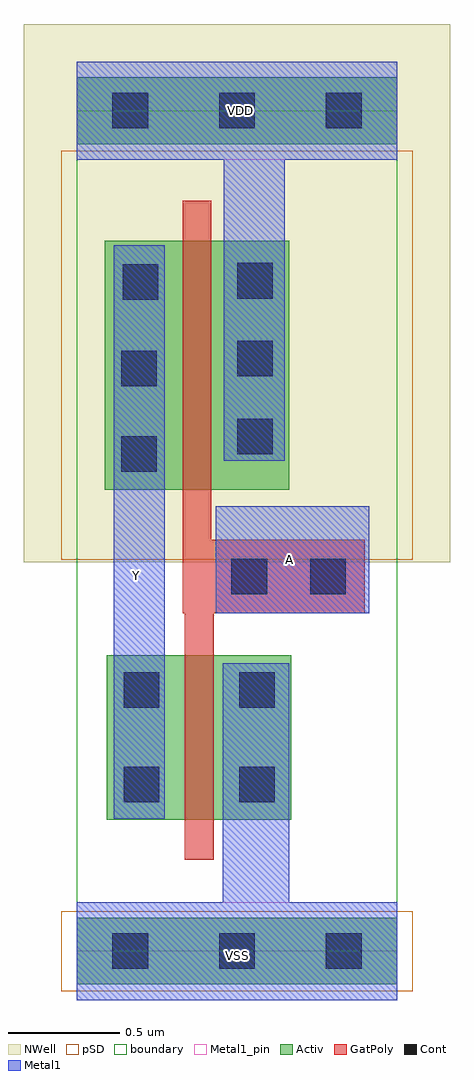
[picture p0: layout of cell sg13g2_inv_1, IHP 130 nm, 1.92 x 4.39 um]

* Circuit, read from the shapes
.subckt sg13g2_inv_1 A VDD VSS Y
XM1 VSS A Y VSS sg13_lv_nmos w=0.74u l=0.13u
XM2 VDD A Y VDD sg13_lv_pmos w=1.12u l=0.13u
.ends

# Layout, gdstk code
import gdstk
lib = gdstk.Library(unit=1e-6, precision=1e-09)
def R(c, l, rs):  # rectangles x0, y0, x1, y1
    for r in rs: c.add(gdstk.rectangle(r[:2], r[2:], *l))
def A(c, l, x, y, w, h, nx, ny, dx, dy):  # array of equal rectangles
    R(c, l, [(x+i*dx, y+j*dy, x+i*dx+w, y+j*dy+h) for i in range(nx) for j in range(ny)])
def P(c, l, *ps):  # polygons
    for p in ps: c.add(gdstk.Polygon(p, *l))
Activ = (1, 0)
GatPoly = (5, 0)
Cont = (6, 0)
Metal1 = (8, 0)
Metal1_pin = (8, 2)
pSD = (14, 0)
NWell = (31, 0)
boundary = (189, 4)

sg13g2_inv_1 = lib.new_cell('sg13g2_inv_1')
R(sg13g2_inv_1, Activ, [(166.03,118.36,167.47,118.66), (166.165,119.1,166.995,119.84), (166.155,120.585,166.985,121.705), (166.03,122.14,167.47,122.44)])
P(sg13g2_inv_1, GatPoly, [(166.515,118.92),(166.515,120.03),(166.505,120.03),(166.505,121.885),(166.635,121.885),(166.635,120.36),(167.325,120.36),(167.325,120.03),(166.645,120.03),(166.645,118.92)])
A(sg13g2_inv_1, Cont, 166.75, 120.745, 0.16, 0.16, 1, 3, 0, 0.35)
R(sg13g2_inv_1, Cont, [(166.19,118.43,166.35,118.59), (166.19,118.43,166.35,118.59), (166.67,118.43,166.83,118.59), (166.67,118.43,166.83,118.59), (167.15,118.43,167.31,118.59), (167.15,118.43,167.31,118.59), (166.24,119.18,166.4,119.34), (166.76,119.18,166.92,119.34), (166.24,119.605,166.4,119.765), (166.76,119.605,166.92,119.765), (166.725,120.115,166.885,120.275), (167.08,120.115,167.24,120.275), (166.23,120.665,166.39,120.825), (166.23,121.05,166.39,121.21), (166.235,121.44,166.395,121.6), (166.19,122.21,166.35,122.37), (166.19,122.21,166.35,122.37), (166.67,122.21,166.83,122.37), (166.67,122.21,166.83,122.37), (167.15,122.21,167.31,122.37), (167.15,122.21,167.31,122.37)])
R(sg13g2_inv_1, Metal1, [(166.195,119.105,166.425,121.685), (166.655,120.03,167.345,120.51)])
P(sg13g2_inv_1, Metal1, [(166.69,120.715),(166.69,122.07),(166.03,122.07),(166.03,122.51),(167.47,122.51),(167.47,122.07),(166.965,122.07),(166.965,120.715)],
  [(166.03,118.29),(166.03,118.73),(166.685,118.73),(166.685,119.805),(166.985,119.805),(166.985,118.73),(167.47,118.73),(167.47,118.29)])
R(sg13g2_inv_1, Metal1_pin, [(166.03,118.29,167.47,118.73), (166.195,119.105,166.425,121.685), (166.655,120.03,167.345,120.51), (166.03,122.07,167.47,122.51)])
R(sg13g2_inv_1, pSD, [(165.96,118.33,167.54,118.69), (165.96,120.27,167.54,122.11)])
R(sg13g2_inv_1, NWell, [(165.79,120.26,167.71,122.68)])
R(sg13g2_inv_1, boundary, [(166.03,118.51,167.47,122.29)])
sg13g2_inv_1.add(gdstk.Label('Y', (166.3,120.2), layer=8, texttype=25))
sg13g2_inv_1.add(gdstk.Label('A', (166.985,120.27), layer=8, texttype=25))
sg13g2_inv_1.add(gdstk.Label('VSS', (166.75,118.49), layer=8, texttype=25))
sg13g2_inv_1.add(gdstk.Label('VDD', (166.765,122.29), layer=8, texttype=25))

lib.write_gds('sg13g2_inv_1.gds')
